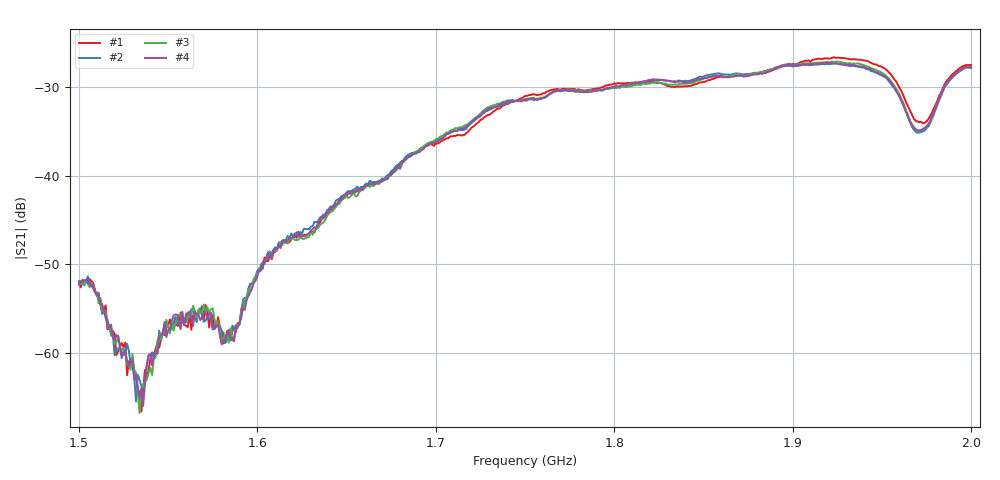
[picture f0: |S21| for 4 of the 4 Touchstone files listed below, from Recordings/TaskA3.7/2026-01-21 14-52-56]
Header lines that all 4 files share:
! NanoVNA-App by SYSJOINT et al v1.1.209 (+OD18)
! Start: 1,5GHz Stop: 2GHz Points: 501
! S-Parameter data: F S11 S21 S12 S22
# Hz S RI R 50
!  Frequency  S11_Real  S11_Imag  S21_Real  S21_Imag  S12_Real  S12_Imag  S22_Real  S22_Imag
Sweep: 1.5 GHz to 2 GHz
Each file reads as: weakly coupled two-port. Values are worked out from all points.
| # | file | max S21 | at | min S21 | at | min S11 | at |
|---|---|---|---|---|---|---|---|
| 1 | 0.s2p | -26.64 dB | 1.923 GHz | -66.6 dB | 1.535 GHz | -30.2 dB | 1.817 GHz |
| 2 | 1.s2p | -27.33 dB | 1.925 GHz | -65.5 dB | 1.532 GHz | -30.0 dB | 1.817 GHz |
| 3 | 2.s2p | -27.11 dB | 1.922 GHz | -66.8 dB | 1.534 GHz | -30.3 dB | 1.817 GHz |
| 4 | 3.s2p | -27.26 dB | 1.92 GHz | -66.0 dB | 1.536 GHz | -30.4 dB | 1.817 GHz |
